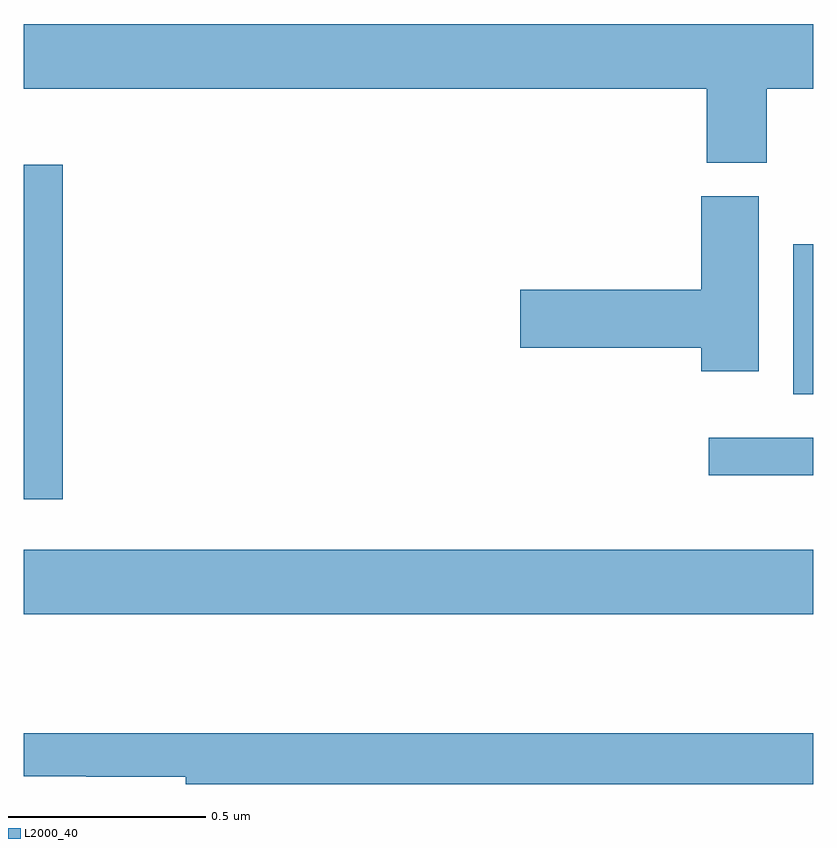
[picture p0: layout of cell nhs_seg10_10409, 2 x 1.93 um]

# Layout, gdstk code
import gdstk
lib = gdstk.Library(unit=1e-6, precision=1e-09)
def R(c, l, rs):  # rectangles x0, y0, x1, y1
    for r in rs: c.add(gdstk.rectangle(r[:2], r[2:], *l))
def P(c, l, *ps):  # polygons
    for p in ps: c.add(gdstk.Polygon(p, *l))
L2000_40 = (2000, 40)

nhs_seg10_10409 = lib.new_cell('nhs_seg10_10409')
R(nhs_seg10_10409, L2000_40, [(242,1283,244,1283.164), (242,1283.292,242.099,1284.139), (243.735,1283.352,244,1283.448), (243.95,1283.558,244,1283.938)])
P(nhs_seg10_10409, L2000_40, [(243.883,1284.332),(244,1284.332),(244,1284.496),(242,1284.496),(242,1284.332),(243.731,1284.332),(243.731,1284.145),(243.883,1284.145)],
  [(243.862,1284.06),(243.716,1284.06),(243.716,1283.822),(243.258,1283.822),(243.258,1283.675),(243.716,1283.675),(243.716,1283.616),(243.862,1283.616)],
  [(244,1282.699),(242,1282.699),(242,1282.59),(242.158,1282.59),(242.158,1282.589),(242.41,1282.589),(242.41,1282.57),(244,1282.57)])

lib.write_gds('nhs_seg10_10409.gds')
